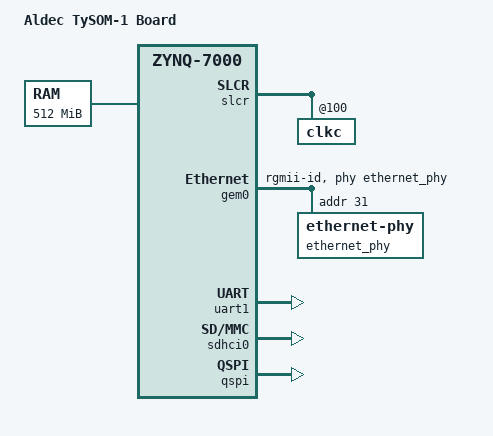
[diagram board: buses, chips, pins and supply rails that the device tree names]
/*
* Aldec TySOM-1 board DTS
*
* Copyright (C) 2016 Aldec, Inc.
*
* SPDX-License-Identifier:	GPL-2.0+
*/
/dts-v1/;
#include "zynq-7000.dtsi"

/ {
    model = "Aldec TySOM-1 Board";
    compatible = "aldec,zynq-tysom-1", "xlnx,zynq-7000";

    aliases {
        ethernet0 = &gem0;
        serial0 = &uart1;
        mmc0 = &sdhci0;
        spi0 = &qspi;
    };

    memory {
        device_type = "memory";
        reg = <0 0x20000000>;
    };
};
&slcr {
        clkc@100 {
                fclk-enable = <0xf>;
                ps-clk-frequency=<50000000>;
        };
};

&gem0 {
    status = "okay";
    phy-mode = "rgmii-id";
    phy-handle = <&ethernet_phy>;
    phy-reset-gpio = <&gpio0 51 0>;
    phy-reset-active-low;

    ethernet_phy: ethernet-phy@1f {
        reg = <0x1f>;
        device_type = "ethernet-phy";
    };
};

&uart1 {
    u-boot,dm-pre-reloc;
    status = "okay";
};

&sdhci0 {
    u-boot,dm-pre-reloc;
    status = "okay";
};

&qspi {
    u-boot,dm-pre-reloc;
    status = "okay";
};
